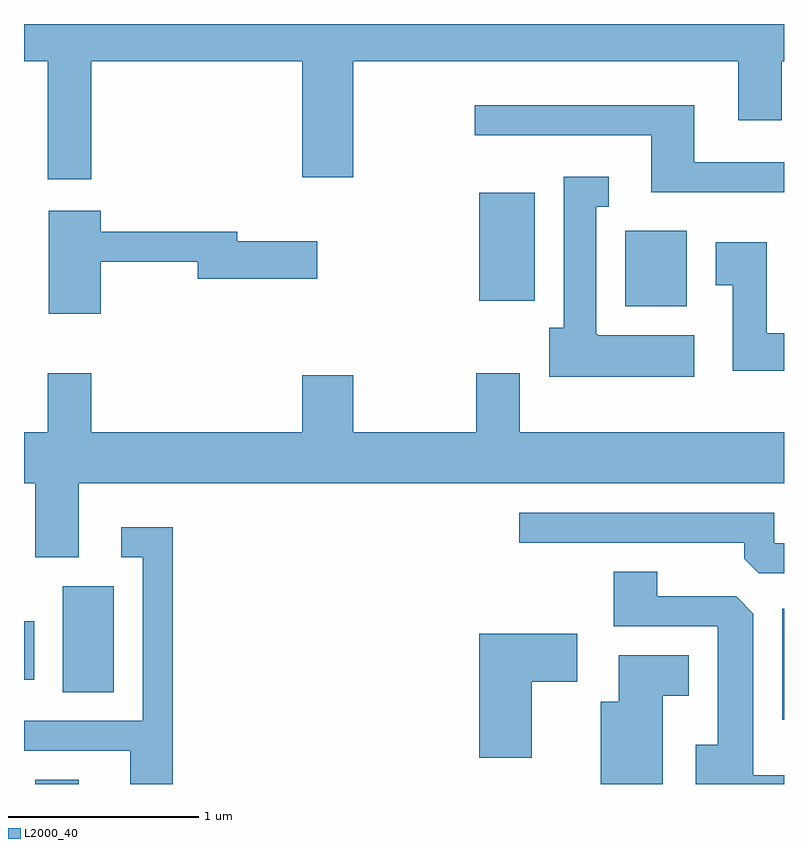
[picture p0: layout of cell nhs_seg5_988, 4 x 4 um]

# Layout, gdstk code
import gdstk
lib = gdstk.Library(unit=1e-6, precision=1e-09)
def R(c, l, rs):  # rectangles x0, y0, x1, y1
    for r in rs: c.add(gdstk.rectangle(r[:2], r[2:], *l))
def P(c, l, *ps):  # polygons
    for p in ps: c.add(gdstk.Polygon(p, *l))
L2000_40 = (2000, 40)

nhs_seg5_988 = lib.new_cell('nhs_seg5_988')
R(nhs_seg5_988, L2000_40, [(213.671,1484.072,213.899,1484.094), (217.601,1484.411,217.611,1484.994), (213.816,1484.556,214.084,1485.114), (213.611,1484.621,213.664,1484.929), (216.776,1486.586,217.099,1486.984), (216.006,1486.616,216.299,1487.184)])
P(nhs_seg5_988, L2000_40, [(213.964,1487.876),(215.076,1487.876),(215.076,1487.266),(215.344,1487.266),(215.344,1487.876),(217.371,1487.876),(217.371,1487.566),(217.599,1487.566),(217.599,1487.876),(217.611,1487.876),(217.611,1488.072),(213.611,1488.072),(213.611,1487.876),(213.736,1487.876),(213.736,1487.256),(213.964,1487.256)],
  [(217.611,1487.344),(217.139,1487.344),(217.139,1487.644),(215.983,1487.644),(215.983,1487.486),(216.911,1487.486),(216.911,1487.186),(217.611,1487.186)],
  [(217.139,1486.434),(216.63,1486.434),(216.63,1486.44),(216.624,1486.44),(216.624,1487.111),(216.688,1487.111),(216.688,1487.269),(216.451,1487.269),(216.451,1486.474),(216.376,1486.474),(216.376,1486.216),(217.139,1486.216)],
  [(214.014,1486.821),(214.526,1486.821),(214.526,1486.731),(215.154,1486.731),(215.154,1486.929),(214.734,1486.929),(214.734,1486.979),(214.014,1486.979),(214.014,1487.089),(213.741,1487.089),(213.741,1486.546),(214.014,1486.546)],
  [(217.611,1486.444),(217.519,1486.444),(217.519,1486.924),(217.251,1486.924),(217.251,1486.696),(217.341,1486.696),(217.341,1486.246),(217.611,1486.246)],
  [(213.899,1485.656),(217.611,1485.656),(217.611,1485.924),(216.219,1485.924),(216.219,1486.234),(215.991,1486.234),(215.991,1485.924),(215.344,1485.924),(215.344,1486.224),(215.076,1486.224),(215.076,1485.924),(213.964,1485.924),(213.964,1486.234),(213.736,1486.234),(213.736,1485.924),(213.611,1485.924),(213.611,1485.656),(213.671,1485.656),(213.671,1485.266),(213.899,1485.266)],
  [(217.611,1485.339),(217.559,1485.339),(217.559,1485.499),(216.218,1485.499),(216.218,1485.341),(217.401,1485.341),(217.401,1485.257),(217.477,1485.181),(217.611,1485.181)],
  [(214.394,1485.424),(214.123,1485.424),(214.123,1485.266),(214.236,1485.266),(214.236,1484.404),(213.611,1484.404),(213.611,1484.246),(214.171,1484.246),(214.171,1484.072),(214.394,1484.072)],
  [(217.611,1484.119),(217.449,1484.119),(217.449,1484.969),(217.359,1485.059),(216.944,1485.059),(216.944,1485.189),(216.716,1485.189),(216.716,1484.901),(217.261,1484.901),(217.261,1484.279),(217.146,1484.279),(217.146,1484.072),(217.611,1484.072)],
  [(216.284,1484.611),(216.524,1484.611),(216.524,1484.864),(216.006,1484.864),(216.006,1484.211),(216.284,1484.211)],
  [(216.974,1484.536),(217.109,1484.536),(217.109,1484.749),(216.741,1484.749),(216.741,1484.504),(216.646,1484.504),(216.646,1484.072),(216.974,1484.072)])

lib.write_gds('nhs_seg5_988.gds')
